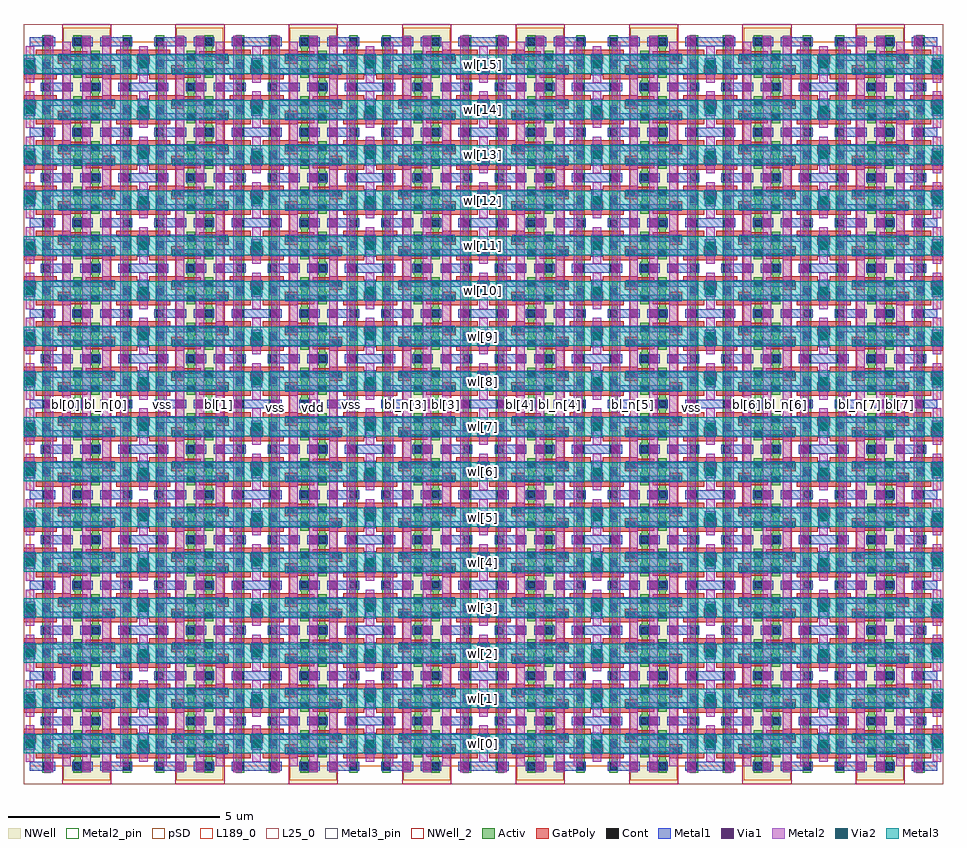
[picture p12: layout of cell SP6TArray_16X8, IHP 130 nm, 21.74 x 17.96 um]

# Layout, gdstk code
from math import pi, radians
import gdstk
lib = gdstk.Library(unit=1e-6, precision=1e-09)
def R(c, l, rs):  # rectangles x0, y0, x1, y1
    for r in rs: c.add(gdstk.rectangle(r[:2], r[2:], *l))
def A(c, l, x, y, w, h, nx, ny, dx, dy):  # array of equal rectangles
    R(c, l, [(x+i*dx, y+j*dy, x+i*dx+w, y+j*dy+h) for i in range(nx) for j in range(ny)])
def P(c, l, *ps):  # polygons
    for p in ps: c.add(gdstk.Polygon(p, *l))
Activ = (1, 0)
GatPoly = (5, 0)
Cont = (6, 0)
Metal1 = (8, 0)
Metal2 = (10, 0)
Metal2_pin = (10, 2)
pSD = (14, 0)
Via1 = (19, 0)
L25_0 = (25, 0)
Via2 = (29, 0)
Metal3 = (30, 0)
Metal3_pin = (30, 2)
NWell = (31, 0)
NWell_2 = (31, 2)
L189_0 = (189, 0)

sp6tcell = lib.new_cell('SP6TCell')
R(sp6tcell, Activ, [(0.29,-0.15,0.49,1.22), (2.19,-0.15,2.39,1.22)])
P(sp6tcell, Activ, [(1.45,-0.15),(1.45,0.15),(1.475,0.15),(1.475,0.555),(1.45,0.555),(1.45,0.855),(1.65,0.855),(1.65,0.555),(1.625,0.555),(1.625,0.15),(1.65,0.15),(1.65,-0.15)],
  [(1.03,0.215),(1.03,0.515),(1.055,0.515),(1.055,0.92),(1.03,0.92),(1.03,1.22),(1.23,1.22),(1.23,0.92),(1.205,0.92),(1.205,0.515),(1.23,0.515),(1.23,0.215)])
P(sp6tcell, GatPoly, [(1.72,0.19),(1.72,0.22),(1.325,0.22),(1.325,0.35),(1.72,0.35),(1.72,0.515),(2.02,0.515),(2.02,0.32),(2.54,0.32),(2.54,0.19)],
  [(2.53,0.555),(2.53,0.75),(2.04,0.75),(2.04,0.88),(2.83,0.88),(2.83,0.555)],
  [(-0.15,0.19),(-0.15,0.515),(0.15,0.515),(0.15,0.32),(0.64,0.32),(0.64,0.19)],
  [(0.66,0.555),(0.66,0.75),(0.14,0.75),(0.14,0.88),(0.96,0.88),(0.96,0.85),(1.355,0.85),(1.355,0.72),(0.96,0.72),(0.96,0.555)])
R(sp6tcell, Cont, [(0.31,-0.08,0.47,0.08), (1.47,-0.08,1.63,0.08), (2.21,-0.08,2.37,0.08), (-0.08,0.285,0.08,0.445), (1.05,0.285,1.21,0.445), (1.79,0.285,1.95,0.445), (0.31,0.43,0.47,0.59), (2.21,0.48,2.37,0.64), (0.73,0.625,0.89,0.785), (1.47,0.625,1.63,0.785), (2.6,0.625,2.76,0.785), (0.31,0.99,0.47,1.15), (1.05,0.99,1.21,1.15), (2.21,0.99,2.37,1.15)])
R(sp6tcell, Metal1, [(0.26,-0.105,1.015,0.105), (1.195,-0.105,1.68,0.105), (2.085,-0.105,2.68,0.105), (2.55,0.275,2.81,0.785), (-0.13,0.285,0.13,0.68), (0,0.965,0.595,1.175), (1,0.965,1.485,1.175), (1.665,0.965,2.42,1.175)])
P(sp6tcell, Metal1, [(0.31,0.285),(0.31,0.64),(0.47,0.64),(0.47,0.445),(2,0.445),(2,0.285)],
  [(2.21,0.43),(2.21,0.625),(0.68,0.625),(0.68,0.785),(2.37,0.785),(2.37,0.43)])
R(sp6tcell, Metal2, [(0.77,-0.145,0.97,1.07), (1.24,-0.145,1.44,1.215), (2.13,-0.145,2.33,1.07), (0.35,0,0.55,1.215), (1.71,0,1.91,1.215), (-0.1,0.105,0.1,0.965), (2.58,0.105,2.78,0.965)])
R(sp6tcell, Metal2_pin, [(0.77,-0.145,0.97,1.07), (1.24,-0.145,1.44,1.215), (2.13,-0.145,2.33,1.07), (0.35,0,0.55,1.215), (1.71,0,1.91,1.215)])
R(sp6tcell, pSD, [(0.785,-0.33,1.895,1.4)])
R(sp6tcell, Via1, [(0.775,-0.095,0.965,0.095), (1.245,-0.095,1.435,0.095), (2.135,-0.095,2.325,0.095), (-0.095,0.44,0.095,0.63), (2.585,0.44,2.775,0.63), (0.355,0.975,0.545,1.165), (1.245,0.975,1.435,1.165), (1.715,0.975,1.905,1.165)])
R(sp6tcell, L25_0, [(-0.15,-0.42,2.83,1.49)])
R(sp6tcell, Via2, [(-0.095,0.44,0.095,0.63), (2.585,0.44,2.775,0.63)])
R(sp6tcell, Metal3, [(-0.145,0.31,2.825,0.76)])
R(sp6tcell, Metal3_pin, [(-0.145,0.31,2.825,0.76)])
R(sp6tcell, NWell, [(0.76,-0.42,1.92,1.49)])
R(sp6tcell, NWell_2, [(0.76,-0.42,1.92,1.49)])
R(sp6tcell, L189_0, [(0,0,2.68,1.07)])
sp6tcell.add(gdstk.Label('bl', (0.87,0.463), layer=10, texttype=25))
sp6tcell.add(gdstk.Label('vss', (2.23,0.463), layer=10, texttype=25))
sp6tcell.add(gdstk.Label('vss', (0.45,0.608), layer=10, texttype=25))
sp6tcell.add(gdstk.Label('vdd', (1.34,0.535), layer=10, texttype=25))
sp6tcell.add(gdstk.Label('bl_n', (1.81,0.608), layer=10, texttype=25))
sp6tcell.add(gdstk.Label('wl', (1.34,0.535), layer=30, texttype=25))
sp6tcell.add(gdstk.Label('nwell', (1.34,0.535), layer=31, texttype=25))

sp6tarray_2x1 = lib.new_cell('SP6TArray_2X1')
R(sp6tarray_2x1, Metal2, [(0.35,-0.145,0.55,2.14), (1.24,-0.145,1.44,2.14), (1.71,-0.145,1.91,2.285), (0.77,0,0.97,2.14), (2.13,0,2.33,2.14)])
R(sp6tarray_2x1, Metal2_pin, [(0.35,-0.145,0.55,2.14), (1.24,-0.145,1.44,2.14), (1.71,-0.145,1.91,2.285), (0.77,0,0.97,2.14), (2.13,0,2.33,2.14)])
R(sp6tarray_2x1, Metal3, [(-0.145,0.31,2.825,0.76), (-0.145,1.38,2.825,1.83)])
R(sp6tarray_2x1, Metal3_pin, [(-0.145,0.31,2.825,0.76), (-0.145,1.38,2.825,1.83)])
R(sp6tarray_2x1, NWell, [(0.76,-0.42,1.92,2.56)])
R(sp6tarray_2x1, NWell_2, [(0.76,-0.42,1.92,2.56)])
R(sp6tarray_2x1, L189_0, [(0,0,2.68,2.14)])
sp6tarray_2x1.add(gdstk.Reference(sp6tcell, (0,1.07), x_reflection=True))
sp6tarray_2x1.add(gdstk.Reference(sp6tcell, (0,1.07)))
sp6tarray_2x1.add(gdstk.Label('vss', (0.45,0.998), layer=10, texttype=25))
sp6tarray_2x1.add(gdstk.Label('vss', (2.23,1.07), layer=10, texttype=25))
sp6tarray_2x1.add(gdstk.Label('vdd', (1.34,0.998), layer=10, texttype=25))
sp6tarray_2x1.add(gdstk.Label('bl[0]', (0.87,1.07), layer=10, texttype=25))
sp6tarray_2x1.add(gdstk.Label('bl_n[0]', (1.81,1.07), layer=10, texttype=25))
sp6tarray_2x1.add(gdstk.Label('wl[0]', (1.34,0.535), layer=30, texttype=25))
sp6tarray_2x1.add(gdstk.Label('wl[1]', (1.34,1.605), layer=30, texttype=25))
sp6tarray_2x1.add(gdstk.Label('nwell', (1.34,1.07), layer=31, texttype=25))

sp6tarray_2x2 = lib.new_cell('SP6TArray_2X2')
R(sp6tarray_2x2, Metal2, [(0.35,-0.145,0.55,2.14), (1.24,-0.145,1.44,2.14), (1.71,-0.145,1.91,2.285), (3.45,-0.145,3.65,2.285), (3.92,-0.145,4.12,2.14), (4.81,-0.145,5.01,2.14), (0.77,0,0.97,2.14), (2.13,0,2.33,2.14), (3.03,0,3.23,2.14), (4.39,0,4.59,2.14)])
R(sp6tarray_2x2, Metal2_pin, [(0.35,-0.145,0.55,2.14), (1.24,-0.145,1.44,2.14), (1.71,-0.145,1.91,2.285), (3.45,-0.145,3.65,2.285), (3.92,-0.145,4.12,2.14), (4.81,-0.145,5.01,2.14), (0.77,0,0.97,2.14), (2.13,0,2.33,2.14), (3.03,0,3.23,2.14), (4.39,0,4.59,2.14)])
R(sp6tarray_2x2, Metal3, [(-0.145,0.31,5.505,0.76), (-0.145,1.38,5.505,1.83)])
R(sp6tarray_2x2, Metal3_pin, [(-0.145,0.31,5.505,0.76), (-0.145,1.38,5.505,1.83)])
R(sp6tarray_2x2, NWell, [(0.76,-0.42,1.92,2.56), (3.44,-0.42,4.6,2.56)])
R(sp6tarray_2x2, NWell_2, [(0.76,-0.42,1.92,2.56), (3.44,-0.42,4.6,2.56)])
R(sp6tarray_2x2, L189_0, [(0,0,5.36,2.14)])
sp6tarray_2x2.add(gdstk.Reference(sp6tarray_2x1, (0,0)))
sp6tarray_2x2.add(gdstk.Reference(sp6tarray_2x1, (5.36,0), rotation=pi, x_reflection=True))
sp6tarray_2x2.add(gdstk.Label('vss', (0.45,0.998), layer=10, texttype=25))
sp6tarray_2x2.add(gdstk.Label('vss', (4.91,0.998), layer=10, texttype=25))
sp6tarray_2x2.add(gdstk.Label('vss', (2.23,1.07), layer=10, texttype=25))
sp6tarray_2x2.add(gdstk.Label('vss', (3.13,1.07), layer=10, texttype=25))
sp6tarray_2x2.add(gdstk.Label('vdd', (1.34,0.998), layer=10, texttype=25))
sp6tarray_2x2.add(gdstk.Label('vdd', (4.02,0.998), layer=10, texttype=25))
sp6tarray_2x2.add(gdstk.Label('bl[0]', (0.87,1.07), layer=10, texttype=25))
sp6tarray_2x2.add(gdstk.Label('bl_n[0]', (1.81,1.07), layer=10, texttype=25))
sp6tarray_2x2.add(gdstk.Label('bl[1]', (4.49,1.07), layer=10, texttype=25))
sp6tarray_2x2.add(gdstk.Label('bl_n[1]', (3.55,1.07), layer=10, texttype=25))
sp6tarray_2x2.add(gdstk.Label('wl[0]', (2.68,0.535), layer=30, texttype=25))
sp6tarray_2x2.add(gdstk.Label('wl[1]', (2.68,1.605), layer=30, texttype=25))
sp6tarray_2x2.add(gdstk.Label('nwell', (1.34,1.07), layer=31, texttype=25))
sp6tarray_2x2.add(gdstk.Label('nwell', (4.02,1.07), layer=31, texttype=25))

sp6tarray_4x2 = lib.new_cell('SP6TArray_4X2')
R(sp6tarray_4x2, Metal2, [(0.35,-0.145,0.55,4.28), (1.24,-0.145,1.44,4.28), (1.71,-0.145,1.91,4.425), (3.45,-0.145,3.65,4.425), (3.92,-0.145,4.12,4.28), (4.81,-0.145,5.01,4.28), (0.77,0,0.97,4.28), (2.13,0,2.33,4.28), (3.03,0,3.23,4.28), (4.39,0,4.59,4.28)])
R(sp6tarray_4x2, Metal2_pin, [(0.35,-0.145,0.55,4.28), (1.24,-0.145,1.44,4.28), (1.71,-0.145,1.91,4.425), (3.45,-0.145,3.65,4.425), (3.92,-0.145,4.12,4.28), (4.81,-0.145,5.01,4.28), (0.77,0,0.97,4.28), (2.13,0,2.33,4.28), (3.03,0,3.23,4.28), (4.39,0,4.59,4.28)])
A(sp6tarray_4x2, Metal3, -0.145, 0.31, 5.65, 0.45, 1, 4, 0, 1.07)
A(sp6tarray_4x2, Metal3_pin, -0.145, 0.31, 5.65, 0.45, 1, 4, 0, 1.07)
R(sp6tarray_4x2, NWell, [(0.76,-0.42,1.92,4.7), (3.44,-0.42,4.6,4.7)])
R(sp6tarray_4x2, NWell_2, [(0.76,-0.42,1.92,4.7), (3.44,-0.42,4.6,4.7)])
R(sp6tarray_4x2, L189_0, [(0,0,5.36,4.28)])
sp6tarray_4x2.add(gdstk.Reference(sp6tarray_2x2, (0,0)))
sp6tarray_4x2.add(gdstk.Reference(sp6tarray_2x2, (0,2.14)))
sp6tarray_4x2.add(gdstk.Label('vss', (0.45,2.068), layer=10, texttype=25))
sp6tarray_4x2.add(gdstk.Label('vss', (4.91,2.068), layer=10, texttype=25))
sp6tarray_4x2.add(gdstk.Label('vss', (2.23,2.14), layer=10, texttype=25))
sp6tarray_4x2.add(gdstk.Label('vss', (3.13,2.14), layer=10, texttype=25))
sp6tarray_4x2.add(gdstk.Label('vdd', (1.34,2.068), layer=10, texttype=25))
sp6tarray_4x2.add(gdstk.Label('vdd', (4.02,2.068), layer=10, texttype=25))
sp6tarray_4x2.add(gdstk.Label('bl[0]', (0.87,2.14), layer=10, texttype=25))
sp6tarray_4x2.add(gdstk.Label('bl_n[0]', (1.81,2.14), layer=10, texttype=25))
sp6tarray_4x2.add(gdstk.Label('bl[1]', (4.49,2.14), layer=10, texttype=25))
sp6tarray_4x2.add(gdstk.Label('bl_n[1]', (3.55,2.14), layer=10, texttype=25))
sp6tarray_4x2.add(gdstk.Label('wl[0]', (2.68,0.535), layer=30, texttype=25))
sp6tarray_4x2.add(gdstk.Label('wl[1]', (2.68,1.605), layer=30, texttype=25))
sp6tarray_4x2.add(gdstk.Label('wl[2]', (2.68,2.675), layer=30, texttype=25))
sp6tarray_4x2.add(gdstk.Label('wl[3]', (2.68,3.745), layer=30, texttype=25))
sp6tarray_4x2.add(gdstk.Label('nwell', (1.34,2.14), layer=31, texttype=25))
sp6tarray_4x2.add(gdstk.Label('nwell', (4.02,2.14), layer=31, texttype=25))

sp6tarray_4x4 = lib.new_cell('SP6TArray_4X4')
R(sp6tarray_4x4, Metal2, [(0.35,-0.145,0.55,4.28), (1.24,-0.145,1.44,4.28), (1.71,-0.145,1.91,4.425), (3.45,-0.145,3.65,4.425), (3.92,-0.145,4.12,4.28), (4.81,-0.145,5.01,4.28), (5.71,-0.145,5.91,4.28), (6.6,-0.145,6.8,4.28), (7.07,-0.145,7.27,4.425), (8.81,-0.145,9.01,4.425), (9.28,-0.145,9.48,4.28), (10.17,-0.145,10.37,4.28), (0.77,0,0.97,4.28), (2.13,0,2.33,4.28), (3.03,0,3.23,4.28), (4.39,0,4.59,4.28), (6.13,0,6.33,4.28), (7.49,0,7.69,4.28), (8.39,0,8.59,4.28), (9.75,0,9.95,4.28)])
R(sp6tarray_4x4, Metal2_pin, [(0.35,-0.145,0.55,4.28), (1.24,-0.145,1.44,4.28), (1.71,-0.145,1.91,4.425), (3.45,-0.145,3.65,4.425), (3.92,-0.145,4.12,4.28), (4.81,-0.145,5.01,4.28), (5.71,-0.145,5.91,4.28), (6.6,-0.145,6.8,4.28), (7.07,-0.145,7.27,4.425), (8.81,-0.145,9.01,4.425), (9.28,-0.145,9.48,4.28), (10.17,-0.145,10.37,4.28), (0.77,0,0.97,4.28), (2.13,0,2.33,4.28), (3.03,0,3.23,4.28), (4.39,0,4.59,4.28), (6.13,0,6.33,4.28), (7.49,0,7.69,4.28), (8.39,0,8.59,4.28), (9.75,0,9.95,4.28)])
A(sp6tarray_4x4, Metal3, -0.145, 0.31, 11.01, 0.45, 1, 4, 0, 1.07)
A(sp6tarray_4x4, Metal3_pin, -0.145, 0.31, 11.01, 0.45, 1, 4, 0, 1.07)
A(sp6tarray_4x4, NWell, 0.76, -0.42, 1.16, 5.12, 4, 1, 2.68, 0)
A(sp6tarray_4x4, NWell_2, 0.76, -0.42, 1.16, 5.12, 4, 1, 2.68, 0)
R(sp6tarray_4x4, L189_0, [(0,0,10.72,4.28)])
sp6tarray_4x4.add(gdstk.Reference(sp6tarray_4x2, (0,0)))
sp6tarray_4x4.add(gdstk.Reference(sp6tarray_4x2, (5.36,0)))
sp6tarray_4x4.add(gdstk.Label('vss', (0.45,2.068), layer=10, texttype=25))
sp6tarray_4x4.add(gdstk.Label('vss', (4.91,2.068), layer=10, texttype=25))
sp6tarray_4x4.add(gdstk.Label('vss', (5.81,2.068), layer=10, texttype=25))
sp6tarray_4x4.add(gdstk.Label('vss', (10.27,2.068), layer=10, texttype=25))
sp6tarray_4x4.add(gdstk.Label('vss', (2.23,2.14), layer=10, texttype=25))
sp6tarray_4x4.add(gdstk.Label('vss', (3.13,2.14), layer=10, texttype=25))
sp6tarray_4x4.add(gdstk.Label('vss', (7.59,2.14), layer=10, texttype=25))
sp6tarray_4x4.add(gdstk.Label('vss', (8.49,2.14), layer=10, texttype=25))
sp6tarray_4x4.add(gdstk.Label('vdd', (1.34,2.068), layer=10, texttype=25))
sp6tarray_4x4.add(gdstk.Label('vdd', (4.02,2.068), layer=10, texttype=25))
sp6tarray_4x4.add(gdstk.Label('vdd', (6.7,2.068), layer=10, texttype=25))
sp6tarray_4x4.add(gdstk.Label('vdd', (9.38,2.068), layer=10, texttype=25))
sp6tarray_4x4.add(gdstk.Label('bl[0]', (0.87,2.14), layer=10, texttype=25))
sp6tarray_4x4.add(gdstk.Label('bl_n[0]', (1.81,2.14), layer=10, texttype=25))
sp6tarray_4x4.add(gdstk.Label('bl[1]', (4.49,2.14), layer=10, texttype=25))
sp6tarray_4x4.add(gdstk.Label('bl_n[1]', (3.55,2.14), layer=10, texttype=25))
sp6tarray_4x4.add(gdstk.Label('bl[2]', (6.23,2.14), layer=10, texttype=25))
sp6tarray_4x4.add(gdstk.Label('bl_n[2]', (7.17,2.14), layer=10, texttype=25))
sp6tarray_4x4.add(gdstk.Label('bl[3]', (9.85,2.14), layer=10, texttype=25))
sp6tarray_4x4.add(gdstk.Label('bl_n[3]', (8.91,2.14), layer=10, texttype=25))
sp6tarray_4x4.add(gdstk.Label('wl[0]', (5.36,0.535), layer=30, texttype=25))
sp6tarray_4x4.add(gdstk.Label('wl[1]', (5.36,1.605), layer=30, texttype=25))
sp6tarray_4x4.add(gdstk.Label('wl[2]', (5.36,2.675), layer=30, texttype=25))
sp6tarray_4x4.add(gdstk.Label('wl[3]', (5.36,3.745), layer=30, texttype=25))
sp6tarray_4x4.add(gdstk.Label('nwell', (1.34,2.14), layer=31, texttype=25))
sp6tarray_4x4.add(gdstk.Label('nwell', (4.02,2.14), layer=31, texttype=25))
sp6tarray_4x4.add(gdstk.Label('nwell', (6.7,2.14), layer=31, texttype=25))
sp6tarray_4x4.add(gdstk.Label('nwell', (9.38,2.14), layer=31, texttype=25))

sp6tarray_8x4 = lib.new_cell('SP6TArray_8X4')
R(sp6tarray_8x4, Metal2, [(0.35,-0.145,0.55,8.56), (1.24,-0.145,1.44,8.56), (1.71,-0.145,1.91,8.705), (3.45,-0.145,3.65,8.705), (3.92,-0.145,4.12,8.56), (4.81,-0.145,5.01,8.56), (5.71,-0.145,5.91,8.56), (6.6,-0.145,6.8,8.56), (7.07,-0.145,7.27,8.705), (8.81,-0.145,9.01,8.705), (9.28,-0.145,9.48,8.56), (10.17,-0.145,10.37,8.56), (0.77,0,0.97,8.56), (2.13,0,2.33,8.56), (3.03,0,3.23,8.56), (4.39,0,4.59,8.56), (6.13,0,6.33,8.56), (7.49,0,7.69,8.56), (8.39,0,8.59,8.56), (9.75,0,9.95,8.56)])
R(sp6tarray_8x4, Metal2_pin, [(0.35,-0.145,0.55,8.56), (1.24,-0.145,1.44,8.56), (1.71,-0.145,1.91,8.705), (3.45,-0.145,3.65,8.705), (3.92,-0.145,4.12,8.56), (4.81,-0.145,5.01,8.56), (5.71,-0.145,5.91,8.56), (6.6,-0.145,6.8,8.56), (7.07,-0.145,7.27,8.705), (8.81,-0.145,9.01,8.705), (9.28,-0.145,9.48,8.56), (10.17,-0.145,10.37,8.56), (0.77,0,0.97,8.56), (2.13,0,2.33,8.56), (3.03,0,3.23,8.56), (4.39,0,4.59,8.56), (6.13,0,6.33,8.56), (7.49,0,7.69,8.56), (8.39,0,8.59,8.56), (9.75,0,9.95,8.56)])
A(sp6tarray_8x4, Metal3, -0.145, 0.31, 11.01, 0.45, 1, 8, 0, 1.07)
A(sp6tarray_8x4, Metal3_pin, -0.145, 0.31, 11.01, 0.45, 1, 8, 0, 1.07)
A(sp6tarray_8x4, NWell, 0.76, -0.42, 1.16, 9.4, 4, 1, 2.68, 0)
A(sp6tarray_8x4, NWell_2, 0.76, -0.42, 1.16, 9.4, 4, 1, 2.68, 0)
R(sp6tarray_8x4, L189_0, [(0,0,10.72,8.56)])
sp6tarray_8x4.add(gdstk.Reference(sp6tarray_4x4, (0,0)))
sp6tarray_8x4.add(gdstk.Reference(sp6tarray_4x4, (0,4.28)))
sp6tarray_8x4.add(gdstk.Label('vss', (0.45,4.208), layer=10, texttype=25))
sp6tarray_8x4.add(gdstk.Label('vss', (4.91,4.208), layer=10, texttype=25))
sp6tarray_8x4.add(gdstk.Label('vss', (5.81,4.208), layer=10, texttype=25))
sp6tarray_8x4.add(gdstk.Label('vss', (10.27,4.208), layer=10, texttype=25))
sp6tarray_8x4.add(gdstk.Label('vss', (2.23,4.28), layer=10, texttype=25))
sp6tarray_8x4.add(gdstk.Label('vss', (3.13,4.28), layer=10, texttype=25))
sp6tarray_8x4.add(gdstk.Label('vss', (7.59,4.28), layer=10, texttype=25))
sp6tarray_8x4.add(gdstk.Label('vss', (8.49,4.28), layer=10, texttype=25))
sp6tarray_8x4.add(gdstk.Label('vdd', (1.34,4.208), layer=10, texttype=25))
sp6tarray_8x4.add(gdstk.Label('vdd', (4.02,4.208), layer=10, texttype=25))
sp6tarray_8x4.add(gdstk.Label('vdd', (6.7,4.208), layer=10, texttype=25))
sp6tarray_8x4.add(gdstk.Label('vdd', (9.38,4.208), layer=10, texttype=25))
sp6tarray_8x4.add(gdstk.Label('bl[0]', (0.87,4.28), layer=10, texttype=25))
sp6tarray_8x4.add(gdstk.Label('bl_n[0]', (1.81,4.28), layer=10, texttype=25))
sp6tarray_8x4.add(gdstk.Label('bl[1]', (4.49,4.28), layer=10, texttype=25))
sp6tarray_8x4.add(gdstk.Label('bl_n[1]', (3.55,4.28), layer=10, texttype=25))
sp6tarray_8x4.add(gdstk.Label('bl[2]', (6.23,4.28), layer=10, texttype=25))
sp6tarray_8x4.add(gdstk.Label('bl_n[2]', (7.17,4.28), layer=10, texttype=25))
sp6tarray_8x4.add(gdstk.Label('bl[3]', (9.85,4.28), layer=10, texttype=25))
sp6tarray_8x4.add(gdstk.Label('bl_n[3]', (8.91,4.28), layer=10, texttype=25))
sp6tarray_8x4.add(gdstk.Label('wl[0]', (5.36,0.535), layer=30, texttype=25))
sp6tarray_8x4.add(gdstk.Label('wl[1]', (5.36,1.605), layer=30, texttype=25))
sp6tarray_8x4.add(gdstk.Label('wl[7]', (5.36,8.025), layer=30, texttype=25))
sp6tarray_8x4.add(gdstk.Label('wl[2]', (5.36,2.675), layer=30, texttype=25))
sp6tarray_8x4.add(gdstk.Label('wl[6]', (5.36,6.955), layer=30, texttype=25))
sp6tarray_8x4.add(gdstk.Label('wl[3]', (5.36,3.745), layer=30, texttype=25))
sp6tarray_8x4.add(gdstk.Label('wl[4]', (5.36,4.815), layer=30, texttype=25))
sp6tarray_8x4.add(gdstk.Label('wl[5]', (5.36,5.885), layer=30, texttype=25))
sp6tarray_8x4.add(gdstk.Label('nwell', (1.34,4.28), layer=31, texttype=25))
sp6tarray_8x4.add(gdstk.Label('nwell', (4.02,4.28), layer=31, texttype=25))
sp6tarray_8x4.add(gdstk.Label('nwell', (6.7,4.28), layer=31, texttype=25))
sp6tarray_8x4.add(gdstk.Label('nwell', (9.38,4.28), layer=31, texttype=25))

sp6tarray_8x8 = lib.new_cell('SP6TArray_8X8')
R(sp6tarray_8x8, Metal2, [(0.35,-0.145,0.55,8.56), (1.24,-0.145,1.44,8.56), (1.71,-0.145,1.91,8.705), (3.45,-0.145,3.65,8.705), (3.92,-0.145,4.12,8.56), (4.81,-0.145,5.01,8.56), (5.71,-0.145,5.91,8.56), (6.6,-0.145,6.8,8.56), (7.07,-0.145,7.27,8.705), (8.81,-0.145,9.01,8.705), (9.28,-0.145,9.48,8.56), (10.17,-0.145,10.37,8.56), (11.07,-0.145,11.27,8.56), (11.96,-0.145,12.16,8.56), (12.43,-0.145,12.63,8.705), (14.17,-0.145,14.37,8.705), (14.64,-0.145,14.84,8.56), (15.53,-0.145,15.73,8.56), (16.43,-0.145,16.63,8.56), (17.32,-0.145,17.52,8.56), (17.79,-0.145,17.99,8.705), (19.53,-0.145,19.73,8.705), (20,-0.145,20.2,8.56), (20.89,-0.145,21.09,8.56), (0.77,0,0.97,8.56), (2.13,0,2.33,8.56), (3.03,0,3.23,8.56), (4.39,0,4.59,8.56), (6.13,0,6.33,8.56), (7.49,0,7.69,8.56), (8.39,0,8.59,8.56), (9.75,0,9.95,8.56), (11.49,0,11.69,8.56), (12.85,0,13.05,8.56), (13.75,0,13.95,8.56), (15.11,0,15.31,8.56), (16.85,0,17.05,8.56), (18.21,0,18.41,8.56), (19.11,0,19.31,8.56), (20.47,0,20.67,8.56)])
R(sp6tarray_8x8, Metal2_pin, [(0.35,-0.145,0.55,8.56), (1.24,-0.145,1.44,8.56), (1.71,-0.145,1.91,8.705), (3.45,-0.145,3.65,8.705), (3.92,-0.145,4.12,8.56), (4.81,-0.145,5.01,8.56), (5.71,-0.145,5.91,8.56), (6.6,-0.145,6.8,8.56), (7.07,-0.145,7.27,8.705), (8.81,-0.145,9.01,8.705), (9.28,-0.145,9.48,8.56), (10.17,-0.145,10.37,8.56), (11.07,-0.145,11.27,8.56), (11.96,-0.145,12.16,8.56), (12.43,-0.145,12.63,8.705), (14.17,-0.145,14.37,8.705), (14.64,-0.145,14.84,8.56), (15.53,-0.145,15.73,8.56), (16.43,-0.145,16.63,8.56), (17.32,-0.145,17.52,8.56), (17.79,-0.145,17.99,8.705), (19.53,-0.145,19.73,8.705), (20,-0.145,20.2,8.56), (20.89,-0.145,21.09,8.56), (0.77,0,0.97,8.56), (2.13,0,2.33,8.56), (3.03,0,3.23,8.56), (4.39,0,4.59,8.56), (6.13,0,6.33,8.56), (7.49,0,7.69,8.56), (8.39,0,8.59,8.56), (9.75,0,9.95,8.56), (11.49,0,11.69,8.56), (12.85,0,13.05,8.56), (13.75,0,13.95,8.56), (15.11,0,15.31,8.56), (16.85,0,17.05,8.56), (18.21,0,18.41,8.56), (19.11,0,19.31,8.56), (20.47,0,20.67,8.56)])
A(sp6tarray_8x8, Metal3, -0.145, 0.31, 21.73, 0.45, 1, 8, 0, 1.07)
A(sp6tarray_8x8, Metal3_pin, -0.145, 0.31, 21.73, 0.45, 1, 8, 0, 1.07)
A(sp6tarray_8x8, NWell, 0.76, -0.42, 1.16, 9.4, 8, 1, 2.68, 0)
A(sp6tarray_8x8, NWell_2, 0.76, -0.42, 1.16, 9.4, 8, 1, 2.68, 0)
R(sp6tarray_8x8, L189_0, [(0,0,21.44,8.56)])
sp6tarray_8x8.add(gdstk.Reference(sp6tarray_8x4, (0,0)))
sp6tarray_8x8.add(gdstk.Reference(sp6tarray_8x4, (10.72,0)))
sp6tarray_8x8.add(gdstk.Label('bl_n[3]', (8.91,4.28), layer=10, texttype=25))
sp6tarray_8x8.add(gdstk.Label('bl[4]', (11.59,4.28), layer=10, texttype=25))
sp6tarray_8x8.add(gdstk.Label('bl[1]', (4.49,4.28), layer=10, texttype=25))
sp6tarray_8x8.add(gdstk.Label('bl[3]', (9.85,4.28), layer=10, texttype=25))
sp6tarray_8x8.add(gdstk.Label('bl_n[0]', (1.81,4.28), layer=10, texttype=25))
sp6tarray_8x8.add(gdstk.Label('bl_n[7]', (19.63,4.28), layer=10, texttype=25))
sp6tarray_8x8.add(gdstk.Label('bl_n[6]', (17.89,4.28), layer=10, texttype=25))
sp6tarray_8x8.add(gdstk.Label('bl[0]', (0.87,4.28), layer=10, texttype=25))
sp6tarray_8x8.add(gdstk.Label('bl[6]', (16.95,4.28), layer=10, texttype=25))
sp6tarray_8x8.add(gdstk.Label('bl_n[5]', (14.27,4.28), layer=10, texttype=25))
sp6tarray_8x8.add(gdstk.Label('vdd', (1.34,4.208), layer=10, texttype=25))
sp6tarray_8x8.add(gdstk.Label('vdd', (4.02,4.208), layer=10, texttype=25))
sp6tarray_8x8.add(gdstk.Label('vdd', (6.7,4.208), layer=10, texttype=25))
sp6tarray_8x8.add(gdstk.Label('vdd', (9.38,4.208), layer=10, texttype=25))
sp6tarray_8x8.add(gdstk.Label('vdd', (12.06,4.208), layer=10, texttype=25))
sp6tarray_8x8.add(gdstk.Label('vdd', (14.74,4.208), layer=10, texttype=25))
sp6tarray_8x8.add(gdstk.Label('vdd', (17.42,4.208), layer=10, texttype=25))
sp6tarray_8x8.add(gdstk.Label('vdd', (20.1,4.208), layer=10, texttype=25))
sp6tarray_8x8.add(gdstk.Label('bl_n[4]', (12.53,4.28), layer=10, texttype=25))
sp6tarray_8x8.add(gdstk.Label('bl[7]', (20.57,4.28), layer=10, texttype=25))
sp6tarray_8x8.add(gdstk.Label('vss', (0.45,4.208), layer=10, texttype=25))
sp6tarray_8x8.add(gdstk.Label('vss', (5.81,4.208), layer=10, texttype=25))
sp6tarray_8x8.add(gdstk.Label('vss', (11.17,4.208), layer=10, texttype=25))
sp6tarray_8x8.add(gdstk.Label('vss', (16.53,4.208), layer=10, texttype=25))
sp6tarray_8x8.add(gdstk.Label('vss', (4.91,4.208), layer=10, texttype=25))
sp6tarray_8x8.add(gdstk.Label('vss', (10.27,4.208), layer=10, texttype=25))
sp6tarray_8x8.add(gdstk.Label('vss', (15.63,4.208), layer=10, texttype=25))
sp6tarray_8x8.add(gdstk.Label('vss', (20.99,4.208), layer=10, texttype=25))
sp6tarray_8x8.add(gdstk.Label('vss', (2.23,4.28), layer=10, texttype=25))
sp6tarray_8x8.add(gdstk.Label('vss', (7.59,4.28), layer=10, texttype=25))
sp6tarray_8x8.add(gdstk.Label('vss', (12.95,4.28), layer=10, texttype=25))
sp6tarray_8x8.add(gdstk.Label('vss', (18.31,4.28), layer=10, texttype=25))
sp6tarray_8x8.add(gdstk.Label('vss', (3.13,4.28), layer=10, texttype=25))
sp6tarray_8x8.add(gdstk.Label('vss', (8.49,4.28), layer=10, texttype=25))
sp6tarray_8x8.add(gdstk.Label('vss', (13.85,4.28), layer=10, texttype=25))
sp6tarray_8x8.add(gdstk.Label('vss', (19.21,4.28), layer=10, texttype=25))
sp6tarray_8x8.add(gdstk.Label('bl[5]', (15.21,4.28), layer=10, texttype=25))
sp6tarray_8x8.add(gdstk.Label('bl_n[1]', (3.55,4.28), layer=10, texttype=25))
sp6tarray_8x8.add(gdstk.Label('bl[2]', (6.23,4.28), layer=10, texttype=25))
sp6tarray_8x8.add(gdstk.Label('bl_n[2]', (7.17,4.28), layer=10, texttype=25))
sp6tarray_8x8.add(gdstk.Label('wl[0]', (10.72,0.535), layer=30, texttype=25))
sp6tarray_8x8.add(gdstk.Label('wl[1]', (10.72,1.605), layer=30, texttype=25))
sp6tarray_8x8.add(gdstk.Label('wl[7]', (10.72,8.025), layer=30, texttype=25))
sp6tarray_8x8.add(gdstk.Label('wl[2]', (10.72,2.675), layer=30, texttype=25))
sp6tarray_8x8.add(gdstk.Label('wl[6]', (10.72,6.955), layer=30, texttype=25))
sp6tarray_8x8.add(gdstk.Label('wl[3]', (10.72,3.745), layer=30, texttype=25))
sp6tarray_8x8.add(gdstk.Label('wl[4]', (10.72,4.815), layer=30, texttype=25))
sp6tarray_8x8.add(gdstk.Label('wl[5]', (10.72,5.885), layer=30, texttype=25))
sp6tarray_8x8.add(gdstk.Label('nwell', (1.34,4.28), layer=31, texttype=25))
sp6tarray_8x8.add(gdstk.Label('nwell', (4.02,4.28), layer=31, texttype=25))
sp6tarray_8x8.add(gdstk.Label('nwell', (6.7,4.28), layer=31, texttype=25))
sp6tarray_8x8.add(gdstk.Label('nwell', (9.38,4.28), layer=31, texttype=25))
sp6tarray_8x8.add(gdstk.Label('nwell', (12.06,4.28), layer=31, texttype=25))
sp6tarray_8x8.add(gdstk.Label('nwell', (14.74,4.28), layer=31, texttype=25))
sp6tarray_8x8.add(gdstk.Label('nwell', (17.42,4.28), layer=31, texttype=25))
sp6tarray_8x8.add(gdstk.Label('nwell', (20.1,4.28), layer=31, texttype=25))

sp6tarray_16x8 = lib.new_cell('SP6TArray_16X8')
R(sp6tarray_16x8, Metal2, [(0.35,-0.145,0.55,17.12), (1.24,-0.145,1.44,17.12), (1.71,-0.145,1.91,17.265), (3.45,-0.145,3.65,17.265), (3.92,-0.145,4.12,17.12), (4.81,-0.145,5.01,17.12), (5.71,-0.145,5.91,17.12), (6.6,-0.145,6.8,17.12), (7.07,-0.145,7.27,17.265), (8.81,-0.145,9.01,17.265), (9.28,-0.145,9.48,17.12), (10.17,-0.145,10.37,17.12), (11.07,-0.145,11.27,17.12), (11.96,-0.145,12.16,17.12), (12.43,-0.145,12.63,17.265), (14.17,-0.145,14.37,17.265), (14.64,-0.145,14.84,17.12), (15.53,-0.145,15.73,17.12), (16.43,-0.145,16.63,17.12), (17.32,-0.145,17.52,17.12), (17.79,-0.145,17.99,17.265), (19.53,-0.145,19.73,17.265), (20,-0.145,20.2,17.12), (20.89,-0.145,21.09,17.12), (0.77,0,0.97,17.12), (2.13,0,2.33,17.12), (3.03,0,3.23,17.12), (4.39,0,4.59,17.12), (6.13,0,6.33,17.12), (7.49,0,7.69,17.12), (8.39,0,8.59,17.12), (9.75,0,9.95,17.12), (11.49,0,11.69,17.12), (12.85,0,13.05,17.12), (13.75,0,13.95,17.12), (15.11,0,15.31,17.12), (16.85,0,17.05,17.12), (18.21,0,18.41,17.12), (19.11,0,19.31,17.12), (20.47,0,20.67,17.12)])
R(sp6tarray_16x8, Metal2_pin, [(0.35,-0.145,0.55,17.12), (1.24,-0.145,1.44,17.12), (1.71,-0.145,1.91,17.265), (3.45,-0.145,3.65,17.265), (3.92,-0.145,4.12,17.12), (4.81,-0.145,5.01,17.12), (5.71,-0.145,5.91,17.12), (6.6,-0.145,6.8,17.12), (7.07,-0.145,7.27,17.265), (8.81,-0.145,9.01,17.265), (9.28,-0.145,9.48,17.12), (10.17,-0.145,10.37,17.12), (11.07,-0.145,11.27,17.12), (11.96,-0.145,12.16,17.12), (12.43,-0.145,12.63,17.265), (14.17,-0.145,14.37,17.265), (14.64,-0.145,14.84,17.12), (15.53,-0.145,15.73,17.12), (16.43,-0.145,16.63,17.12), (17.32,-0.145,17.52,17.12), (17.79,-0.145,17.99,17.265), (19.53,-0.145,19.73,17.265), (20,-0.145,20.2,17.12), (20.89,-0.145,21.09,17.12), (0.77,0,0.97,17.12), (2.13,0,2.33,17.12), (3.03,0,3.23,17.12), (4.39,0,4.59,17.12), (6.13,0,6.33,17.12), (7.49,0,7.69,17.12), (8.39,0,8.59,17.12), (9.75,0,9.95,17.12), (11.49,0,11.69,17.12), (12.85,0,13.05,17.12), (13.75,0,13.95,17.12), (15.11,0,15.31,17.12), (16.85,0,17.05,17.12), (18.21,0,18.41,17.12), (19.11,0,19.31,17.12), (20.47,0,20.67,17.12)])
A(sp6tarray_16x8, Metal3, -0.145, 0.31, 21.73, 0.45, 1, 16, 0, 1.07)
A(sp6tarray_16x8, Metal3_pin, -0.145, 0.31, 21.73, 0.45, 1, 16, 0, 1.07)
A(sp6tarray_16x8, NWell, 0.76, -0.42, 1.16, 17.96, 8, 1, 2.68, 0)
A(sp6tarray_16x8, NWell_2, 0.76, -0.42, 1.16, 17.96, 8, 1, 2.68, 0)
R(sp6tarray_16x8, L189_0, [(0,0,21.44,17.12)])
sp6tarray_16x8.add(gdstk.Reference(sp6tarray_8x8, (0,0)))
sp6tarray_16x8.add(gdstk.Reference(sp6tarray_8x8, (0,8.56)))
sp6tarray_16x8.add(gdstk.Label('bl_n[3]', (8.91,8.56), layer=10, texttype=25))
sp6tarray_16x8.add(gdstk.Label('bl[4]', (11.59,8.56), layer=10, texttype=25))
sp6tarray_16x8.add(gdstk.Label('bl[1]', (4.49,8.56), layer=10, texttype=25))
sp6tarray_16x8.add(gdstk.Label('bl[3]', (9.85,8.56), layer=10, texttype=25))
sp6tarray_16x8.add(gdstk.Label('bl_n[0]', (1.81,8.56), layer=10, texttype=25))
sp6tarray_16x8.add(gdstk.Label('bl_n[7]', (19.63,8.56), layer=10, texttype=25))
sp6tarray_16x8.add(gdstk.Label('bl_n[6]', (17.89,8.56), layer=10, texttype=25))
sp6tarray_16x8.add(gdstk.Label('bl[0]', (0.87,8.56), layer=10, texttype=25))
sp6tarray_16x8.add(gdstk.Label('bl[6]', (16.95,8.56), layer=10, texttype=25))
sp6tarray_16x8.add(gdstk.Label('bl_n[5]', (14.27,8.56), layer=10, texttype=25))
sp6tarray_16x8.add(gdstk.Label('vdd', (1.34,8.488), layer=10, texttype=25))
sp6tarray_16x8.add(gdstk.Label('vdd', (4.02,8.488), layer=10, texttype=25))
sp6tarray_16x8.add(gdstk.Label('vdd', (6.7,8.488), layer=10, texttype=25))
sp6tarray_16x8.add(gdstk.Label('vdd', (9.38,8.488), layer=10, texttype=25))
sp6tarray_16x8.add(gdstk.Label('vdd', (12.06,8.488), layer=10, texttype=25))
sp6tarray_16x8.add(gdstk.Label('vdd', (14.74,8.488), layer=10, texttype=25))
sp6tarray_16x8.add(gdstk.Label('vdd', (17.42,8.488), layer=10, texttype=25))
sp6tarray_16x8.add(gdstk.Label('vdd', (20.1,8.488), layer=10, texttype=25))
sp6tarray_16x8.add(gdstk.Label('bl_n[4]', (12.53,8.56), layer=10, texttype=25))
sp6tarray_16x8.add(gdstk.Label('bl[7]', (20.57,8.56), layer=10, texttype=25))
sp6tarray_16x8.add(gdstk.Label('vss', (0.45,8.488), layer=10, texttype=25))
sp6tarray_16x8.add(gdstk.Label('vss', (5.81,8.488), layer=10, texttype=25))
sp6tarray_16x8.add(gdstk.Label('vss', (11.17,8.488), layer=10, texttype=25))
sp6tarray_16x8.add(gdstk.Label('vss', (16.53,8.488), layer=10, texttype=25))
sp6tarray_16x8.add(gdstk.Label('vss', (4.91,8.488), layer=10, texttype=25))
sp6tarray_16x8.add(gdstk.Label('vss', (10.27,8.488), layer=10, texttype=25))
sp6tarray_16x8.add(gdstk.Label('vss', (15.63,8.488), layer=10, texttype=25))
sp6tarray_16x8.add(gdstk.Label('vss', (20.99,8.488), layer=10, texttype=25))
sp6tarray_16x8.add(gdstk.Label('vss', (2.23,8.56), layer=10, texttype=25))
sp6tarray_16x8.add(gdstk.Label('vss', (7.59,8.56), layer=10, texttype=25))
sp6tarray_16x8.add(gdstk.Label('vss', (12.95,8.56), layer=10, texttype=25))
sp6tarray_16x8.add(gdstk.Label('vss', (18.31,8.56), layer=10, texttype=25))
sp6tarray_16x8.add(gdstk.Label('vss', (3.13,8.56), layer=10, texttype=25))
sp6tarray_16x8.add(gdstk.Label('vss', (8.49,8.56), layer=10, texttype=25))
sp6tarray_16x8.add(gdstk.Label('vss', (13.85,8.56), layer=10, texttype=25))
sp6tarray_16x8.add(gdstk.Label('vss', (19.21,8.56), layer=10, texttype=25))
sp6tarray_16x8.add(gdstk.Label('bl[5]', (15.21,8.56), layer=10, texttype=25))
sp6tarray_16x8.add(gdstk.Label('bl_n[1]', (3.55,8.56), layer=10, texttype=25))
sp6tarray_16x8.add(gdstk.Label('bl[2]', (6.23,8.56), layer=10, texttype=25))
sp6tarray_16x8.add(gdstk.Label('bl_n[2]', (7.17,8.56), layer=10, texttype=25))
sp6tarray_16x8.add(gdstk.Label('wl[12]', (10.72,13.375), layer=30, texttype=25))
sp6tarray_16x8.add(gdstk.Label('wl[14]', (10.72,15.515), layer=30, texttype=25))
sp6tarray_16x8.add(gdstk.Label('wl[11]', (10.72,12.305), layer=30, texttype=25))
sp6tarray_16x8.add(gdstk.Label('wl[15]', (10.72,16.585), layer=30, texttype=25))
sp6tarray_16x8.add(gdstk.Label('wl[13]', (10.72,14.445), layer=30, texttype=25))
sp6tarray_16x8.add(gdstk.Label('wl[0]', (10.72,0.535), layer=30, texttype=25))
sp6tarray_16x8.add(gdstk.Label('wl[1]', (10.72,1.605), layer=30, texttype=25))
sp6tarray_16x8.add(gdstk.Label('wl[7]', (10.72,8.025), layer=30, texttype=25))
sp6tarray_16x8.add(gdstk.Label('wl[2]', (10.72,2.675), layer=30, texttype=25))
sp6tarray_16x8.add(gdstk.Label('wl[3]', (10.72,3.745), layer=30, texttype=25))
sp6tarray_16x8.add(gdstk.Label('wl[4]', (10.72,4.815), layer=30, texttype=25))
sp6tarray_16x8.add(gdstk.Label('wl[9]', (10.72,10.165), layer=30, texttype=25))
sp6tarray_16x8.add(gdstk.Label('wl[6]', (10.72,6.955), layer=30, texttype=25))
sp6tarray_16x8.add(gdstk.Label('wl[10]', (10.72,11.235), layer=30, texttype=25))
sp6tarray_16x8.add(gdstk.Label('wl[5]', (10.72,5.885), layer=30, texttype=25))
sp6tarray_16x8.add(gdstk.Label('wl[8]', (10.72,9.095), layer=30, texttype=25))
sp6tarray_16x8.add(gdstk.Label('nwell', (1.34,8.56), layer=31, texttype=25))
sp6tarray_16x8.add(gdstk.Label('nwell', (4.02,8.56), layer=31, texttype=25))
sp6tarray_16x8.add(gdstk.Label('nwell', (6.7,8.56), layer=31, texttype=25))
sp6tarray_16x8.add(gdstk.Label('nwell', (9.38,8.56), layer=31, texttype=25))
sp6tarray_16x8.add(gdstk.Label('nwell', (12.06,8.56), layer=31, texttype=25))
sp6tarray_16x8.add(gdstk.Label('nwell', (14.74,8.56), layer=31, texttype=25))
sp6tarray_16x8.add(gdstk.Label('nwell', (17.42,8.56), layer=31, texttype=25))
sp6tarray_16x8.add(gdstk.Label('nwell', (20.1,8.56), layer=31, texttype=25))

lib.write_gds('SP6TArray_16X8.gds')
